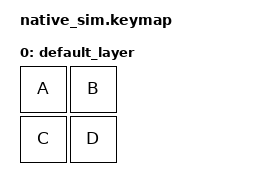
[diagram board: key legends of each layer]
/*
 * Test: context-exhaustion
 *
 * With only 2 detection context slots, try to detect 3 combos simultaneously.
 * The third key that would start a new combo should fall through as an
 * individual key press.
 *
 * combo_x: positions <0 1> → X  (needs key 1 which never comes)
 * combo_y: positions <2 3> → Y  (needs key 3 which never comes)
 *
 * Press key 0 (starts context 1 for combo_x),
 * press key 2 (starts context 2 for combo_y),
 * press key 3 within timeout (feeds context 2, combo_y activates),
 * press key 1 within timeout (feeds context 1, combo_x activates),
 * release all.
 *
 * Both combos should still fire since each context gets its second key.
 * This tests that contexts are allocated and used correctly under load.
 *
 * Sequence:
 *   press(0, 0ms), press(2, 5ms), press(3, 5ms), press(1, 5ms),
 *   release(0, 200ms), release(1, 10ms), release(2, 10ms), release(3, 10ms)
 *
 * Expected: press Y, press X, release X, release Y
 *   (Y first because combo_y {2,3} completes before combo_x {0,1} — key 3
 *    arrives before key 1 in the sequence)
 */

#include <dt-bindings/zmk/keys.h>
#include <behaviors.dtsi>
#include <dt-bindings/zmk/kscan_mock.h>

/ {
    rolling_combos {
        compatible = "zmk,rolling-combos";
        combo_x {
            timeout-ms = <50>;
            key-positions = <0 1>;
            bindings = <&kp X>;
        };
        combo_y {
            timeout-ms = <50>;
            key-positions = <2 3>;
            bindings = <&kp Y>;
        };
    };

    keymap {
        compatible = "zmk,keymap";
        default_layer {
            bindings = <
                &kp A &kp B
                &kp C &kp D
            >;
        };
    };
};

&kscan {
    events = <
        ZMK_MOCK_PRESS(0, 0, 0)
        ZMK_MOCK_PRESS(1, 0, 5)
        ZMK_MOCK_PRESS(1, 1, 5)
        ZMK_MOCK_PRESS(0, 1, 5)
        ZMK_MOCK_RELEASE(0, 0, 200)
        ZMK_MOCK_RELEASE(0, 1, 10)
        ZMK_MOCK_RELEASE(1, 0, 10)
        ZMK_MOCK_RELEASE(1, 1, 10)
    >;
};
